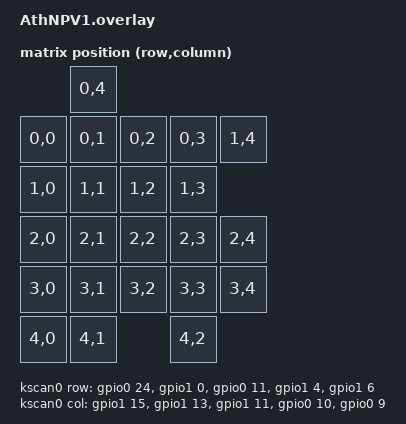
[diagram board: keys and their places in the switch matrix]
#include <dt-bindings/zmk/matrix_transform.h> 


/ {

    chosen {
        zmk,kscan = &kscan0;
        zmk,physical-layout = &physical_layout0;
        // Other chosen items
    };

    kscan0: kscan0 {
        compatible = "zmk,kscan-gpio-matrix";
        diode-direction = "col2row";
        wakeup-source;

        col-gpios
            =   <&gpio1 15 GPIO_ACTIVE_HIGH>,
                <&gpio1 13 GPIO_ACTIVE_HIGH>,
                <&gpio1 11 GPIO_ACTIVE_HIGH>,
                <&gpio0 10 GPIO_ACTIVE_HIGH>,
                <&gpio0 9 GPIO_ACTIVE_HIGH>;

        row-gpios
            =   <&gpio0 24 (GPIO_ACTIVE_HIGH | GPIO_PULL_DOWN)>, 
                <&gpio1 0 (GPIO_ACTIVE_HIGH | GPIO_PULL_DOWN)>,
                <&gpio0 11 (GPIO_ACTIVE_HIGH | GPIO_PULL_DOWN)>,
                <&gpio1 4 (GPIO_ACTIVE_HIGH | GPIO_PULL_DOWN)>,
                <&gpio1 6 (GPIO_ACTIVE_HIGH | GPIO_PULL_DOWN)>;
    };


    default_transform: keymap_transform0 {
        compatible = "zmk,matrix-transform";
        columns = <5>; // Length of the "col-gpios" array
        rows = <5>; // Length of the "row-gpios" array
        map = <
        //         | Key 5 |
        //   Key 1 | Key 2 | Key 3 | Key 4 | Key10
        //   Key 6 | Key 7 | Key 8 | Key 9 |
        //   Key11 | Key12 | Key13 | Key14 | Key15 
        //   Key16 | Key17 | Key18 | Key19 | Key20
        //   Key21 | Key22 |       | Key23

                    RC(0,4)
            RC(0,0) RC(0,1) RC(0,2) RC(0,3) RC(1,4)
            RC(1,0) RC(1,1) RC(1,2) RC(1,3)
            RC(2,0) RC(2,1) RC(2,2) RC(2,3) RC(2,4)
            RC(3,0) RC(3,1) RC(3,2) RC(3,3) RC(3,4)
            RC(4,0) RC(4,1)         RC(4,2) 
        >;
    };


    physical_layout0: physical_layout_0 { // First physical layout, use different naming for other layouts
        compatible = "zmk,physical-layout";
        display-name = "Default Layout";
        kscan = <&kscan0>; // Label of the kscan node, optional if all layouts use the same
        transform = <&default_transform>; // Label of the matrix transform for this layout
    };
};

    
